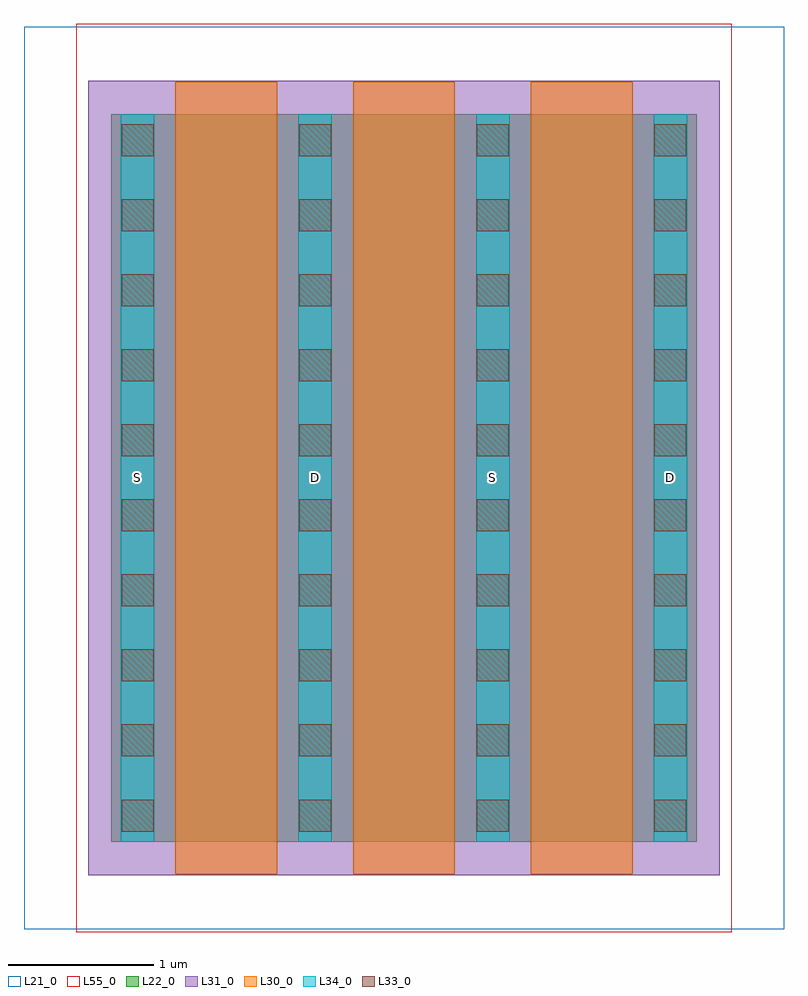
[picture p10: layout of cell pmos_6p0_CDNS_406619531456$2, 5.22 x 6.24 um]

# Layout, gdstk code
import gdstk
lib = gdstk.Library(unit=1e-6, precision=1e-09)
def R(c, l, rs):  # rectangles x0, y0, x1, y1
    for r in rs: c.add(gdstk.rectangle(r[:2], r[2:], *l))
def A(c, l, x, y, w, h, nx, ny, dx, dy):  # array of equal rectangles
    R(c, l, [(x+i*dx, y+j*dy, x+i*dx+w, y+j*dy+h) for i in range(nx) for j in range(ny)])
L21_0 = (21, 0)
L22_0 = (22, 0)
L30_0 = (30, 0)
L31_0 = (31, 0)
L33_0 = (33, 0)
L34_0 = (34, 0)
L55_0 = (55, 0)

pmos_6p0_cdns_4066195314 = lib.new_cell('pmos_6p0_CDNS_406619531456$2')
R(pmos_6p0_cdns_4066195314, L21_0, [(-1.04,-0.6,4.18,5.6)])
A(pmos_6p0_cdns_4066195314, L22_0, -0.44, 0, 0.36, 5, 4, 1, 1.22, 0)
R(pmos_6p0_cdns_4066195314, L22_0, [(-0.44,0,3.58,5)])
A(pmos_6p0_cdns_4066195314, L30_0, 0, -0.22, 0.7, 5.44, 3, 1, 1.22, 0)
A(pmos_6p0_cdns_4066195314, L30_0, 0, 5, 0.7, 0.22, 3, 1, 1.22, 0)
R(pmos_6p0_cdns_4066195314, L31_0, [(-0.6,-0.23,3.74,5.23)])
A(pmos_6p0_cdns_4066195314, L33_0, -0.37, 0.07, 0.22, 0.22, 4, 2, 1.22, 0.52)
A(pmos_6p0_cdns_4066195314, L33_0, -0.37, 1.105, 0.22, 0.22, 4, 8, 1.22, 0.515)
R(pmos_6p0_cdns_4066195314, L34_0, [(-0.375,0,-0.145,5), (-0.375,0,-0.145,5), (0.845,0,1.075,5), (0.845,0,1.075,5), (2.065,0,2.295,5), (2.065,0,2.295,5), (3.285,0,3.515,5), (3.285,0,3.515,5)])
R(pmos_6p0_cdns_4066195314, L55_0, [(-0.68,-0.62,3.82,5.62)])
pmos_6p0_cdns_4066195314.add(gdstk.Label('S', (-0.26,2.5), layer=34, texttype=0))
pmos_6p0_cdns_4066195314.add(gdstk.Label('D', (3.4,2.5), layer=34, texttype=0))
pmos_6p0_cdns_4066195314.add(gdstk.Label('D', (0.96,2.5), layer=34, texttype=0))
pmos_6p0_cdns_4066195314.add(gdstk.Label('S', (2.18,2.5), layer=34, texttype=0))

lib.write_gds('pmos_6p0_CDNS_406619531456_2.gds')
